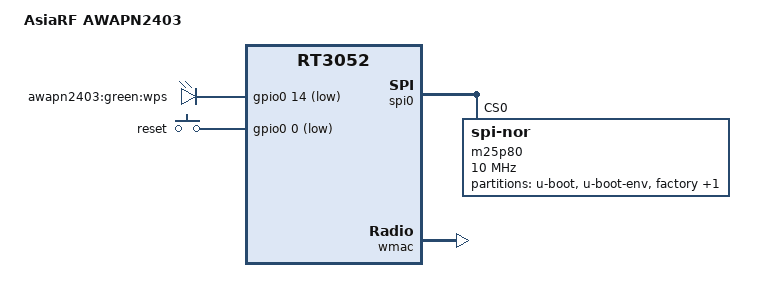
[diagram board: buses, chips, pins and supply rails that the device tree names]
/dts-v1/;

#include "rt3050.dtsi"

#include <dt-bindings/gpio/gpio.h>
#include <dt-bindings/input/input.h>

/ {
	compatible = "asiarf,awapn2403", "ralink,rt3052-soc";
	model = "AsiaRF AWAPN2403";

	aliases {
		led-boot = &led_wps;
		led-failsafe = &led_wps;
		led-running = &led_wps;
		led-upgrade = &led_wps;
	};


	leds {
		compatible = "gpio-leds";

		led_wps: wps {
			label = "awapn2403:green:wps";
			gpios = <&gpio0 14 GPIO_ACTIVE_LOW>;
		};
	};

	keys {
		compatible = "gpio-keys-polled";
		poll-interval = <20>;

		reset {
			label = "reset";
			gpios = <&gpio0 0 GPIO_ACTIVE_LOW>;
			linux,code = <KEY_RESTART>;
		};
	};
};

&spi0 {
	status = "okay";

	m25p80@0 {
		compatible = "jedec,spi-nor";
		reg = <0>;
		spi-max-frequency = <10000000>;

		partitions {
			compatible = "fixed-partitions";
			#address-cells = <1>;
			#size-cells = <1>;

			partition@0 {
				label = "u-boot";
				reg = <0x0 0x30000>;
				read-only;
			};

			partition@30000 {
				label = "u-boot-env";
				reg = <0x30000 0x10000>;
				read-only;
			};

			factory: partition@40000 {
				label = "factory";
				reg = <0x40000 0x10000>;
				read-only;
			};

			partition@50000 {
				compatible = "denx,uimage";
				label = "firmware";
				reg = <0x50000 0x3b0000>;
			};
		};
	};
};

&pinctrl {
	state_default: pinctrl0 {
		gpio {
			ralink,group = "i2c", "jtag", "rgmii", "mdio", "uartf";
			ralink,function = "gpio";
		};
	};
};

&esw {
	mediatek,portmap = <0x3e>;
};

&wmac {
	ralink,mtd-eeprom = <&factory 0>;
};
